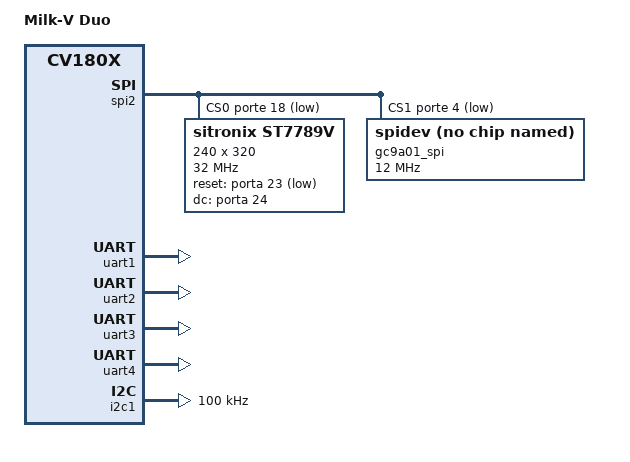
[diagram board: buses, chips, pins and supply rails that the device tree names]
/dts-v1/;
#include "cv180x_base_riscv.dtsi"
#include "cv180x_asic_qfn.dtsi"
#include "cv180x_asic_sd.dtsi"
#include "cv180x_default_memmap.dtsi"

&mipi_rx{
	snsr-reset = <&portc 8 GPIO_ACTIVE_LOW>, <&portc 8 GPIO_ACTIVE_LOW>, <&portc 8 GPIO_ACTIVE_LOW>;
};

&spi2 {
	status = "okay";
	num-cs = <2>;
	/*
	 * Both chip-selects are GPIO-controlled because the DesignWare SPI
	 * controller on CV1800B only has a single native CS line (CS0) and
	 * cannot drive the shift engine for chip-select 1.  We keep CS0
	 * selected in hardware SER and toggle the actual GPIOs from software.
	 */
	cs-gpios = <&porte 18 GPIO_ACTIVE_LOW>,   /* Pin12: GP9 / PWR_GPIO_18, ST7789V */
	           <&porte 4 GPIO_ACTIVE_LOW>;    /* Pin29: GP22 / PWR_GPIO_4,  GC9A01  */
	/delete-node/ spidev@0;

	/*
	 * ST7789V 240x320 LCD on SPI2 SCK/MOSI, GPIO CS on Pin12.
	 * Probed by the built-in fbtft ST7789V driver as /dev/fb0.
	 */
	st7789v: display@0 {
		compatible = "sitronix,st7789v";
		reg = <0>;
		status = "okay";
		/* SPI mode 0, 32 MHz. ST7789V datasheet max is ~62.5 MHz;
		 * 32 MHz is a safe starting point with the current wiring.
		 */
		spi-max-frequency = <32000000>;
		/* Mode 0: CPOL=0, CPHA=0 (default when spi-cpol/spi-cpha absent) */
		width = <240>;
		height = <320>;
		rotate = <270>;
		fps = <30>;
		buswidth = <8>;
		reset-gpios = <&porta 23 GPIO_ACTIVE_LOW>;  /* Duo Pin 21: XGPIOA_23, ST7789V RST */
		dc-gpios    = <&porta 24 GPIO_ACTIVE_HIGH>; /* Duo Pin 22: XGPIOA_24, ST7789V DC  */
		bgr;
		/*
		 * Pin5/Pin11 (PWR_GPIO_25/21) are kept free for the GC9A01 DC/RST in
		 * user-space.  The default GPIO mux already assigns Pin21/Pin22 as
		 * XGPIOA_23/XGPIOA_24.
		 */
	};

	/*
	 * GC9A01 240x240 round LCD is driven from user-space via /dev/spidev0.1.
	 * Its chip-select is managed by the SPI core on Duo Pin29 GP22 (PWR_GPIO_4,
	 * porte offset 4).  The user-space animation program no longer toggles CS.
	 */
	gc9a01_spi: spidev@1 {
		compatible = "rohm,dh2228fv";
		reg = <1>;
		status = "okay";
		spi-max-frequency = <12000000>;
	};
};

&uart1 {
	status = "okay";
};

&uart2 {
	status = "okay";
};

&uart3 {
	status = "okay";
};

&uart4 {
	status = "okay";
};

&i2c1 {
       status = "okay";
       clock-frequency = <100000>;
};

/ {
	model = "Milk-V Duo";
};
